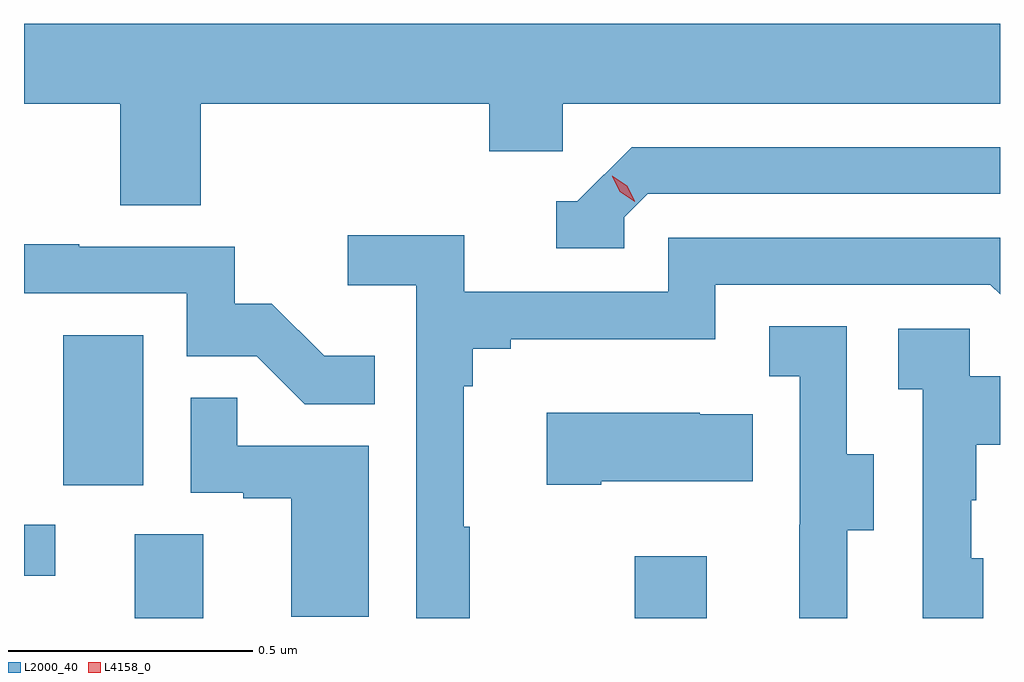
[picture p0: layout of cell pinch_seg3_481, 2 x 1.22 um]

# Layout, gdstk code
import gdstk
lib = gdstk.Library(unit=1e-6, precision=1e-09)
def R(c, l, rs):  # rectangles x0, y0, x1, y1
    for r in rs: c.add(gdstk.rectangle(r[:2], r[2:], *l))
def P(c, l, *ps):  # polygons
    for p in ps: c.add(gdstk.Polygon(p, *l))
L2000_40 = (2000, 40)
L4158_0 = (4158, 0)

pinch_seg3_481 = lib.new_cell('pinch_seg3_481')
R(pinch_seg3_481, L2000_40, [(952.679,670.557,952.819,670.73), (953.704,670.557,953.851,670.684), (952.452,670.644,952.516,670.749), (952.532,670.83,952.696,671.137)])
P(pinch_seg3_481, L2000_40, [(952.814,671.612),(953.405,671.612),(953.405,671.514),(953.556,671.514),(953.556,671.612),(954.452,671.612),(954.452,671.776),(952.452,671.776),(952.452,671.612),(952.649,671.612),(952.649,671.404),(952.814,671.404)],
  [(953.682,671.379),(953.73,671.427),(954.452,671.427),(954.452,671.523),(953.697,671.523),(953.586,671.412),(953.543,671.412),(953.543,671.316),(953.682,671.316)],
  [(953.365,670.745),(953.353,670.745),(953.353,671.033),(953.372,671.033),(953.372,671.11),(953.449,671.11),(953.449,671.129),(953.868,671.129),(953.868,671.241),(954.432,671.241),(954.452,671.221),(954.452,671.337),(953.772,671.337),(953.772,671.226),(953.354,671.226),(953.354,671.342),(953.115,671.342),(953.115,671.24),(953.256,671.24),(953.256,670.557),(953.365,670.557)],
  [(953.171,671.095),(953.067,671.095),(952.96,671.202),(952.884,671.202),(952.884,671.319),(952.565,671.319),(952.565,671.324),(952.452,671.324),(952.452,671.223),(952.785,671.223),(952.785,671.094),(952.929,671.094),(953.027,670.996),(953.171,670.996)],
  [(954.139,670.738),(954.193,670.738),(954.193,670.893),(954.138,670.893),(954.138,671.156),(953.979,671.156),(953.979,671.053),(954.042,671.053),(954.042,670.749),(954.041,670.749),(954.041,670.557),(954.139,670.557)],
  [(954.418,670.68),(954.393,670.68),(954.393,670.799),(954.403,670.799),(954.403,670.913),(954.452,670.913),(954.452,671.053),(954.39,671.053),(954.39,671.151),(954.243,671.151),(954.243,671.027),(954.294,671.027),(954.294,670.557),(954.418,670.557)],
  [(953.158,670.911),(952.889,670.911),(952.889,671.009),(952.794,671.009),(952.794,670.815),(952.901,670.815),(952.901,670.803),(953,670.803),(953,670.56),(953.158,670.56)],
  [(953.635,670.838),(953.945,670.838),(953.945,670.975),(953.837,670.975),(953.837,670.978),(953.523,670.978),(953.523,670.831),(953.635,670.831)])
P(pinch_seg3_481, L4158_0, [(953.704,671.411),(953.673,671.431),(953.657,671.463),(953.657,671.464),(953.657,671.464),(953.688,671.444),(953.704,671.412),(953.704,671.411)])

lib.write_gds('pinch_seg3_481.gds')
